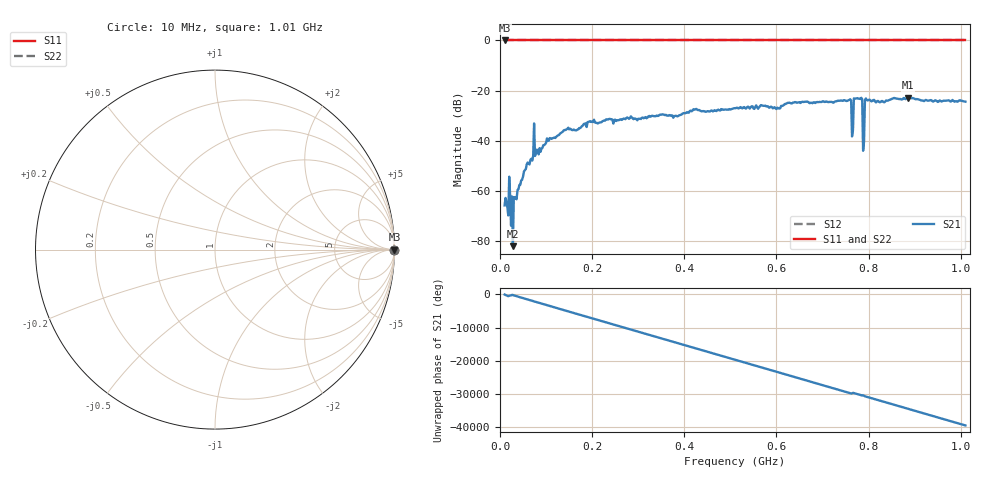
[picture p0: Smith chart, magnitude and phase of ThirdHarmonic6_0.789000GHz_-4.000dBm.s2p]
! 8/16/2025 2:19:09 AM
! C:\ANRITSUVNA\TEMP\TEMP.S2P
! CHANNEL.1
! TR.MEASUREMENT
! RAW.DATA
! RF.CORRECTION.OFF
! AVERAGING.OFF
! IF.BANDWIDTH: 5KHZ
! SWEEPTYPE:  FREQ.SWEEP(Linear)
! Reference Plane Port Info
! PORT:  PORT1  PORT2
! DISTANCE:  0  m  0  m
! TIME:  0  s  0  s
! PHASE.OFFSET:  0  deg.  0  deg.
! LOSS:  0  dB  0  dB
! REF.LOSS:  0  dB  0  dB
! REF.FREQ:  0  Hz  0  Hz
! Power Info
! POWER:  -20  dBm  -20  dBm
! EFF.POWER:  -20  dBm  -20  dBm
! SOURCE.ATTEN:  0  dB  0  dB
! TEST.ATTEN:  0  dB  0  dB
# GHZ S RI R 50.0
! FREQ.GHZ  S11RE  S11IM  S21RE  S21IM  S12RE  S12IM  S22RE  S22IM
!; PortSelection: Port_12
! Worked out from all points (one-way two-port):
!   501 points, 10 MHz to 1.01 GHz, reference 50 ohm
!   highest |S21| = -22.85 dB at 886 MHz (marker M1); lowest = -82.1 dB at 28 MHz (marker M2)
!   lowest |S11| = 0.0 dB at 10 MHz (marker M3)
!   |S11| at or under -10 dB: nowhere
!   |S22| runs from 0.0 to 0.0 dB; largest |S21 - S12| = 1.1
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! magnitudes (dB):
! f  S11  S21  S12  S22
! 10 MHz  0.0  -65.8  0.0  0.0
! 18 MHz  0.0  -69.8  0.0  0.0
! 28 MHz  0.0  -82.1  0.0  0.0
! 34 MHz  0.0  -62.5  0.0  0.0
! 76 MHz  0.0  -46.1  0.0  0.0
! 80 MHz  0.0  -43.6  0.0  0.0
! 106 MHz  0.0  -40.0  0.0  0.0
! 178 MHz  0.0  -34.1  0.0  0.0
! 344 MHz  0.0  -30.1  0.0  0.0
! 510 MHz  0.0  -27.0  0.0  0.0
! 678 MHz  0.0  -25.0  0.0  0.0
! 758 MHz  0.0  -23.7  0.0  0.0
! 762 MHz  0.0  -24.0  0.0  0.0
! 768 MHz  0.0  -23.1  0.0  0.0
! 772 MHz  0.0  -23.1  0.0  0.0
! 782 MHz  0.0  -23.4  0.0  0.0
! 786 MHz  0.0  -23.4  0.0  0.0
! 792 MHz  0.0  -23.7  0.0  0.0
! 796 MHz  0.0  -23.8  0.0  0.0
! 844 MHz  0.0  -23.8  0.0  0.0
! 886 MHz  0.0  -22.8  0.0  0.0
! 1.01 GHz  0.0  -24.4  0.0  0.0
